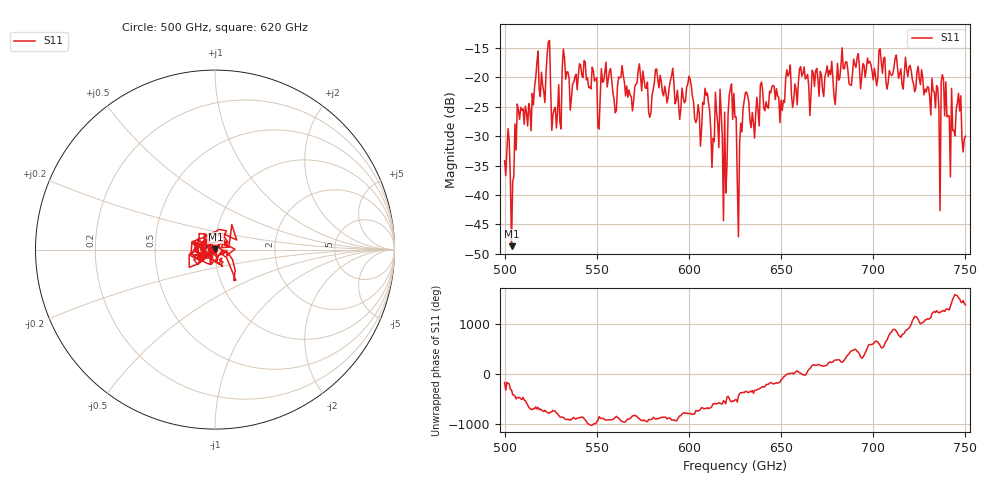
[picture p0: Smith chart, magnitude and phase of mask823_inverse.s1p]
!Created with skrf (http://scikit-rf.org).
# GHz S MA R 50.0
!freq magS11 angS11
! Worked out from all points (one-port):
!   401 points, 500 GHz to 750 GHz, reference 50 ohm
!   lowest |S11| = -48.7 dB at 503.8 GHz (marker M1), VSWR 1.01, Z = 50.3 + j0.267 ohm
!   |S11| at or under -10 dB: start of sweep to end of sweep
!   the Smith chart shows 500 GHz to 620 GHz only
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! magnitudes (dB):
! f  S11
! 500 GHz  -34.2
! 503.8 GHz  -48.7
! 508.1 GHz  -27.1
! 513.1 GHz  -24.5
! 517.5 GHz  -17.6
! 523.8 GHz  -13.9
! 526.9 GHz  -25.5
! 531.2 GHz  -18.5
! 562.5 GHz  -20.1
! 593.8 GHz  -22.2
! 610 GHz  -22.6
! 612.5 GHz  -35.3
! 616.2 GHz  -31.9
! 619.4 GHz  -25.9
! 622.5 GHz  -22.0
! 625 GHz  -26.8
! 627.5 GHz  -31.3
! 630.6 GHz  -22.6
! 634.4 GHz  -26.0
! 656.2 GHz  -25.1
! 687.5 GHz  -21.2
! 718.8 GHz  -19.8
! 733.8 GHz  -25.2
! 735 GHz  -21.8
! 738.1 GHz  -20.3
! 743.1 GHz  -29.0
! 746.2 GHz  -22.7
! 750 GHz  -30.0
